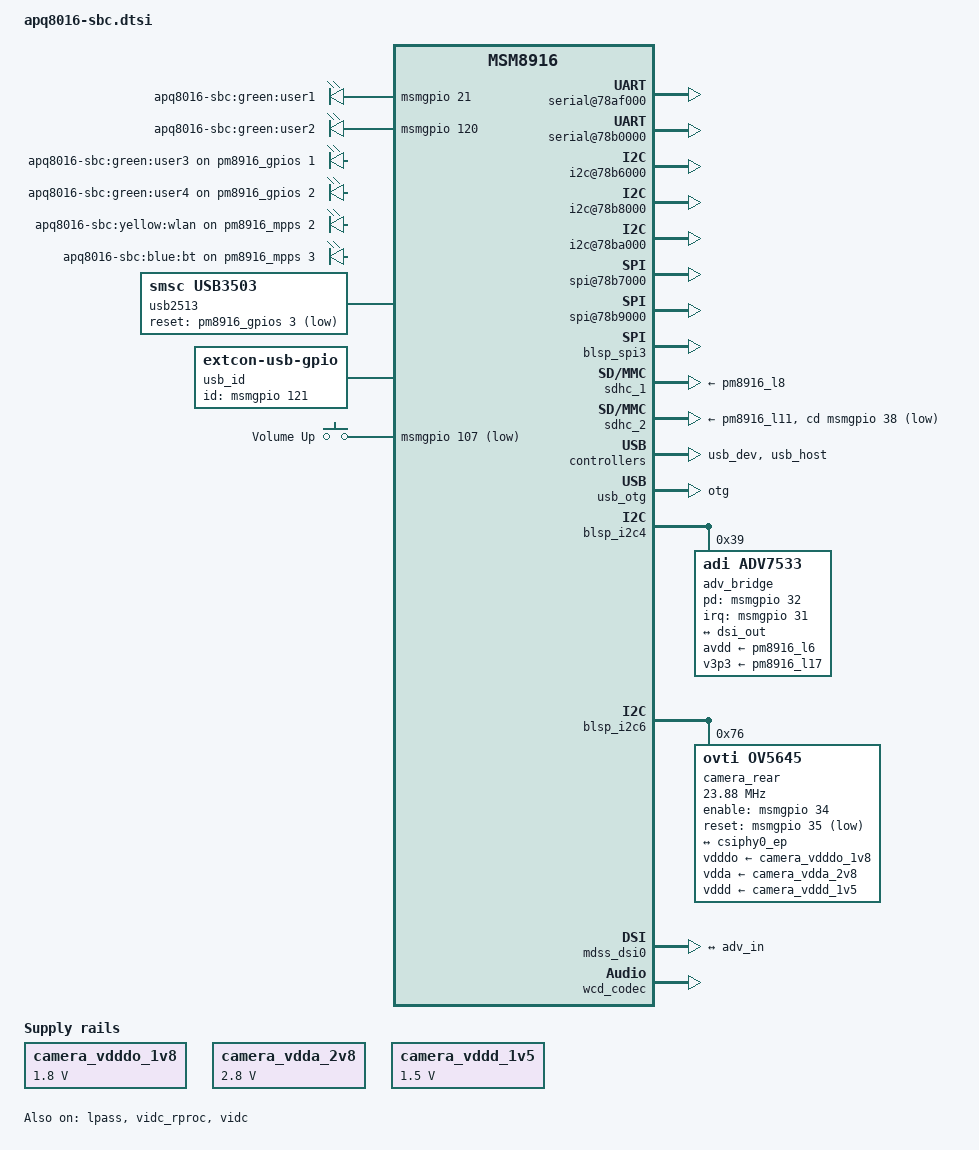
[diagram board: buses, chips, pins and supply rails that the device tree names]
/*
 * Copyright (c) 2015, The Linux Foundation. All rights reserved.
 *
 * This program is free software; you can redistribute it and/or modify
 * it under the terms of the GNU General Public License version 2 and
 * only version 2 as published by the Free Software Foundation.
 *
 * This program is distributed in the hope that it will be useful,
 * but WITHOUT ANY WARRANTY; without even the implied warranty of
 * MERCHANTABILITY or FITNESS FOR A PARTICULAR PURPOSE.  See the
 * GNU General Public License for more details.
 */

#include <dt-bindings/gpio/gpio.h>
#include <dt-bindings/input/input.h>
#include <dt-bindings/sound/apq8016-lpass.h>
#include "msm8916.dtsi"
#include "pm8916.dtsi"
#include "apq8016-sbc-soc-pins.dtsi"
#include "apq8016-sbc-pmic-pins.dtsi"
#include "msm8916-mdss.dtsi"
/ {
	aliases {
		serial0 = &blsp1_uart2;
		serial1 = &blsp1_uart1;
		usid0 = &pm8916_0;
		i2c0	= &blsp_i2c2;
		i2c1	= &blsp_i2c6;
		i2c3	= &blsp_i2c4;
		spi0	= &blsp_spi5;
		spi1	= &blsp_spi3;
	};

	chosen {
		stdout-path = "serial0";
	};

	smd {
		rpm {
			rpm_requests {
				pm8916-regulators {

					vdd_l1_l2_l3-supply = <&pm8916_s3>;
					vdd_l5-supply = <&pm8916_s3>;
					vdd_l4_l5_l6-supply = <&pm8916_s4>;
					vdd_l7-supply = <&pm8916_s4>;

					s1 {
						regulator-min-microvolt = <375000>;
						regulator-max-microvolt = <1562000>;

					};
					s2 {
						regulator-min-microvolt = <375000>;
						regulator-max-microvolt = <1562000>;

					};
					s3 {
						regulator-min-microvolt = <375000>;
						regulator-max-microvolt = <1562000>;

					};
					s4 {
						regulator-min-microvolt = <1800000>;
						regulator-max-microvolt = <1800000>;

						regulator-always-on;
						regulator-boot-on;
					};

					l1 {
						regulator-min-microvolt = <375000>;
						regulator-max-microvolt = <1525000>;

					};
					l2 {
						regulator-min-microvolt = <375000>;
						regulator-max-microvolt = <1525000>;

					};
					l3 {
						regulator-min-microvolt = <375000>;
						regulator-max-microvolt = <1525000>;

					};
					l4 {
						regulator-min-microvolt = <1750000>;
						regulator-max-microvolt = <3337000>;

					};
					l5 {
						regulator-min-microvolt = <1750000>;
						regulator-max-microvolt = <3337000>;

					};
					l6 {
						regulator-min-microvolt = <1750000>;
						regulator-max-microvolt = <3337000>;

					};
					l7 {
						regulator-min-microvolt = <1750000>;
						regulator-max-microvolt = <3337000>;

					};
					l8 {
						regulator-min-microvolt = <1750000>;
						regulator-max-microvolt = <3337000>;

					};
					l9 {
						regulator-min-microvolt = <1750000>;
						regulator-max-microvolt = <3337000>;

					};
					l10 {
						regulator-min-microvolt = <1750000>;
						regulator-max-microvolt = <3337000>;

					};
					l11 {
						regulator-min-microvolt = <1750000>;
						regulator-max-microvolt = <3337000>;

					};
					l12 {
						regulator-min-microvolt = <1750000>;
						regulator-max-microvolt = <3337000>;

					};
					l13 {
						regulator-min-microvolt = <1750000>;
						regulator-max-microvolt = <3337000>;

					};
					l14 {
						regulator-min-microvolt = <1750000>;
						regulator-max-microvolt = <3337000>;

					};
					l15 {
						regulator-min-microvolt = <1750000>;
						regulator-max-microvolt = <3337000>;

					};
					l16 {
						regulator-min-microvolt = <1750000>;
						regulator-max-microvolt = <3337000>;

					};
					l17 {
						regulator-min-microvolt = <1750000>;
						regulator-max-microvolt = <3337000>;

					};
					l18 {
						regulator-min-microvolt = <1750000>;
						regulator-max-microvolt = <3337000>;

					};
				};
			};
		};
	};

	soc {
		serial@78af000 {
			label = "LS-UART0";
			status = "okay";
			pinctrl-names = "default", "sleep";
			pinctrl-0 = <&blsp1_uart1_default>;
			pinctrl-1 = <&blsp1_uart1_sleep>;
		};

		serial@78b0000 {
			label = "LS-UART1";
			status = "okay";
			pinctrl-names = "default", "sleep";
			pinctrl-0 = <&blsp1_uart2_default>;
			pinctrl-1 = <&blsp1_uart2_sleep>;
		};

		i2c@78b6000 {
		/* On Low speed expansion */
			label = "LS-I2C0";
			status = "okay";
		};

		i2c@78b8000 {
		/* On High speed expansion */
			label = "HS-I2C2";
			status = "okay";
		};

		i2c@78ba000 {
		/* On Low speed expansion */
			label = "LS-I2C1";
			status = "okay";
		};

		spi@78b7000 {
		/* On High speed expansion */
			label = "HS-SPI1";
			status = "okay";
		};

		spi@78b9000 {
		/* On Low speed expansion */
			label = "LS-SPI0";
			status = "okay";
		};

		leds {
			pinctrl-names = "default";
			pinctrl-0 = <&msmgpio_leds>,
				    <&pm8916_gpios_leds>,
				    <&pm8916_mpps_leds>;

			compatible = "gpio-leds";

			led@1 {
				label = "apq8016-sbc:green:user1";
				gpios = <&msmgpio 21 GPIO_ACTIVE_HIGH>;
				linux,default-trigger = "heartbeat";
				default-state = "off";
			};

			led@2 {
				label = "apq8016-sbc:green:user2";
				gpios = <&msmgpio 120 GPIO_ACTIVE_HIGH>;
				linux,default-trigger = "mmc0";
				default-state = "off";
			};

			led@3 {
				label = "apq8016-sbc:green:user3";
				gpios = <&pm8916_gpios 1 GPIO_ACTIVE_HIGH>;
				linux,default-trigger = "mmc1";
				default-state = "off";
			};

			led@4 {
				label = "apq8016-sbc:green:user4";
				gpios = <&pm8916_gpios 2 GPIO_ACTIVE_HIGH>;
				linux,default-trigger = "none";
				default-state = "off";
			};

			led@5 {
				label = "apq8016-sbc:yellow:wlan";
				gpios = <&pm8916_mpps 2 GPIO_ACTIVE_HIGH>;
				linux,default-trigger = "wlan";
				default-state = "off";
			};

			led@6 {
				label = "apq8016-sbc:blue:bt";
				gpios = <&pm8916_mpps 3 GPIO_ACTIVE_HIGH>;
				linux,default-trigger = "bt";
				default-state = "off";
			};
		};

		camera_vdddo_1v8: fixedregulator@0 {
			compatible = "regulator-fixed";
			regulator-name = "camera_vdddo";
			regulator-min-microvolt = <1800000>;
			regulator-max-microvolt = <1800000>;
			regulator-always-on;
		};

		camera_vdda_2v8: fixedregulator@1 {
			compatible = "regulator-fixed";
			regulator-name = "camera_vdda";
			regulator-min-microvolt = <2800000>;
			regulator-max-microvolt = <2800000>;
			regulator-always-on;
		};

		camera_vddd_1v5: fixedregulator@2 {
			compatible = "regulator-fixed";
			regulator-name = "camera_vddd";
			regulator-min-microvolt = <1500000>;
			regulator-max-microvolt = <1500000>;
			regulator-always-on;
		};
	};

	usb2513 {
		compatible = "smsc,usb3503";
		reset-gpios = <&pm8916_gpios 3 GPIO_ACTIVE_LOW>;
		initial-mode = <1>;
	};

	usb_id: usb-id {
		interrupt-parent = <&msmgpio>;
		compatible = "linux,extcon-usb-gpio";
		id-gpio = <&msmgpio 121 GPIO_ACTIVE_HIGH>;
		pinctrl-names = "default";
		pinctrl-0 = <&usb_id_default>;
	};

	gpio_keys {
		compatible = "gpio-keys";
		#address-cells = <1>;
		#size-cells = <0>;
		autorepeat;

		pinctrl-names = "default";
		pinctrl-0 = <&msm_key_volp_n_default>;

		button@0 {
			label = "Volume Up";
			linux,code = <KEY_VOLUMEUP>;
			gpios = <&msmgpio 107 GPIO_ACTIVE_LOW>;
		};
	};
};

&camss {
	ports {

		#address-cells = <1>;
		#size-cells = <0>;

		port@0 {
			reg = <0>;
			csiphy0_ep:endpoint {
				clock-lanes = <1>;
				data-lanes = <0 2>;
				qcom,settle-cnt = <0x0e>;
				remote-endpoint = <&ov5645_ep>;
			};
		};

/*
		port@1 {
			reg = <1>;
			csiphy1_ep:endpoint {
				clock-lanes = <1>;
				data-lanes = <0 2>;
				qcom,settle-cnt = <0x0e>;
				remote-endpoint = <&ov5645_2_ep>;
			};
		};
*/
	};
};

&spmi_pon {
	// Overwrite RESETIN_N keyboard scan code
	linux,code = <KEY_VOLUMEDOWN>;
};

&blsp_dma {
	status = "okay";
};

&blsp_spi3 {
	status = "okay";
};

&sdhc_1 {
	vmmc-supply = <&pm8916_l8>;
	vqmmc-supply = <&pm8916_l5>;

	pinctrl-names = "default", "sleep";
	pinctrl-0 = <&sdc1_clk_on &sdc1_cmd_on &sdc1_data_on>;
	pinctrl-1 = <&sdc1_clk_off &sdc1_cmd_off &sdc1_data_off>;
	status = "okay";
};

&sdhc_2 {
	vmmc-supply = <&pm8916_l11>;
	vqmmc-supply = <&pm8916_l12>;

	pinctrl-names = "default", "sleep";
	pinctrl-0 = <&sdc2_clk_on &sdc2_cmd_on &sdc2_data_on &sdc2_cd_on>;
	pinctrl-1 = <&sdc2_clk_off &sdc2_cmd_off &sdc2_data_off &sdc2_cd_off>;
	#address-cells = <0>;
	interrupt-parent = <&sdhc_2>;
	interrupts = <0 1 2>;
	#interrupt-cells = <1>;
	interrupt-map-mask = <0xffffffff>;
	interrupt-map = <0 &intc 0 125 0
			1 &intc 0 221 0
			2 &msmgpio 38 0>;
	interrupt-names = "hc_irq", "pwr_irq", "status_irq";
	cd-gpios = <&msmgpio 38 0x1>;

	status = "okay";
};

&usb_dev {
	extcon = <&usb_id>, <&usb_id>;
	status = "okay";
};

&usb_host {
	status = "okay";
};

&sdhc_1 {
	status = "okay";
};

&usb_otg {
	extcon = <&usb_id>, <&usb_id>;
	dr_mode = "otg";
	status = "okay";
	switch-gpio = <&pm8916_gpios 4 GPIO_ACTIVE_HIGH>; // D+/D- lines: 1 - Routed to HUB, 0 - Device
	pinctrl-names = "default";
	pinctrl-0 = <&usb_sw_sel_pm>;
};

&blsp_i2c4 {
	status = "ok";

	adv_bridge: bridge@39 {
		status = "ok";
		compatible = "adi,adv7533";
		reg = <0x39>;
		interrupt-parent = <&msmgpio>;
		interrupts = <31 2>;
		avdd-supply = <&pm8916_l6>;
		v3p3-supply = <&pm8916_l17>;
		adi,dsi-lanes = <4>;
		pd-gpios = <&msmgpio 32 0>;
		pinctrl-names = "default","sleep";
		pinctrl-0 = <&adv7533_int_active &adv7533_switch_active>;
		pinctrl-1 = <&adv7533_int_suspend &adv7533_switch_suspend>;
		#sound-dai-cells = <1>;

		port {
			adv_in: endpoint {
				remote-endpoint = <&dsi_out>;
			};
		};

	};
};

&blsp_i2c6 {
	status = "ok";

	camera_rear@76 {
		compatible = "ovti,ov5645";
		reg = <0x76>;

		enable-gpios = <&msmgpio 34 0>;
		reset-gpios = <&msmgpio 35 1>;
		pinctrl-names = "default";
		pinctrl-0 = <&camera_rear_default>;

		clocks = <&gcc GCC_CAMSS_MCLK0_CLK>;
		clock-names = "xclk";
		clock-frequency = <23880000>;

		vdddo-supply = <&camera_vdddo_1v8>;
		vdda-supply = <&camera_vdda_2v8>;
		vddd-supply = <&camera_vddd_1v5>;

		port {
			ov5645_ep: endpoint {
				clock-lanes = <1>;
				data-lanes = <0 2>;
				remote-endpoint = <&csiphy0_ep>;
			};
		};
	};

/*
	camera_front@74 {
		compatible = "ovti,ov5645";
		reg = <0x74>;

		enable-gpios = <&msmgpio 33 0>;
		reset-gpios = <&msmgpio 28 1>;
		pinctrl-names = "default";
		pinctrl-0 = <&camera_front_default>;

		clocks = <&gcc GCC_CAMSS_MCLK1_CLK>;
		clock-names = "xclk";
		clock-frequency = <23880000>;

		vdddo-supply = <&camera_vdddo_1v8>;
		vdda-supply = <&camera_vdda_2v8>;
		vddd-supply = <&camera_vddd_1v5>;

		port {
			ov5645_2_ep: endpoint {
				clock-lanes = <1>;
				data-lanes = <0 2>;
				remote-endpoint = <&csiphy1_ep>;
			};
		};
	};
*/
};

&mdss_dsi0 {
	status = "ok";

	port {
		dsi_out: endpoint {
			remote-endpoint = <&adv_in>;
		};
	};
};

&lpass {
	status = "okay";
};

&wcd_codec {
	status = "okay";
	clocks = <&gcc GCC_CODEC_DIGCODEC_CLK>;
	clock-names = "mclk";
	qcom,lpass-codec-core = <&lpass_codec_core>;
};
	/*
	Internal Codec
		playback - Primary MI2S
		capture - Ter MI2S

	External Primary:
		playback - secondary MI2S
		capture - Quat MI2S

	External Secondary:
		playback - Quat MI2S
		capture - Quat MI2S
	*/
&sound {
	status = "okay";
	pinctrl-0 = <&cdc_pdm_lines_act &ext_sec_tlmm_lines_act &ext_mclk_tlmm_lines_act>;
	pinctrl-1 = <&cdc_pdm_lines_sus &ext_sec_tlmm_lines_sus &ext_mclk_tlmm_lines_sus>;
	pinctrl-names = "default", "sleep";
	qcom,model = "DB410c";
	qcom,audio-routing =
		"AMIC1", "MIC BIAS External",
		"AMIC2", "MIC BIAS Internal2",
		"AMIC3", "MIC BIAS External",
		"DMIC1", "MIC BIAS Internal1";

	/* External Primary or External Secondary -ADV7533 HDMI */
	external-dai-link@0 {
		link-name = "ADV7533";

		cpu { /* QUAT */
			sound-dai = <&lpass MI2S_QUATERNARY>;
		};
		codec {
			sound-dai = <&adv_bridge 0>;
		};
	};

	internal-codec-playback-dai-link@0 {		/* I2S - Internal codec */
		link-name = "WCD";
		cpu { /* PRIMARY */
			sound-dai = <&lpass MI2S_PRIMARY>;
		};
		codec {
			sound-dai = <&wcd_codec 0>;
		};
	};

	internal-codec-capture-dai-link@0 {		/* I2S - Internal codec */
		link-name = "WCD-Capture";
		cpu { /* PRIMARY */
			sound-dai = <&lpass MI2S_TERTIARY>;
		};
		codec {
			sound-dai = <&wcd_codec 1>;
		};
	};

};

/* default regulators required for mezzanine boards */
&pm8916_l15 {
	regulator-always-on;
};

&vidc_rproc {
	status = "okay";
};

&vidc {
	status = "okay";
};
